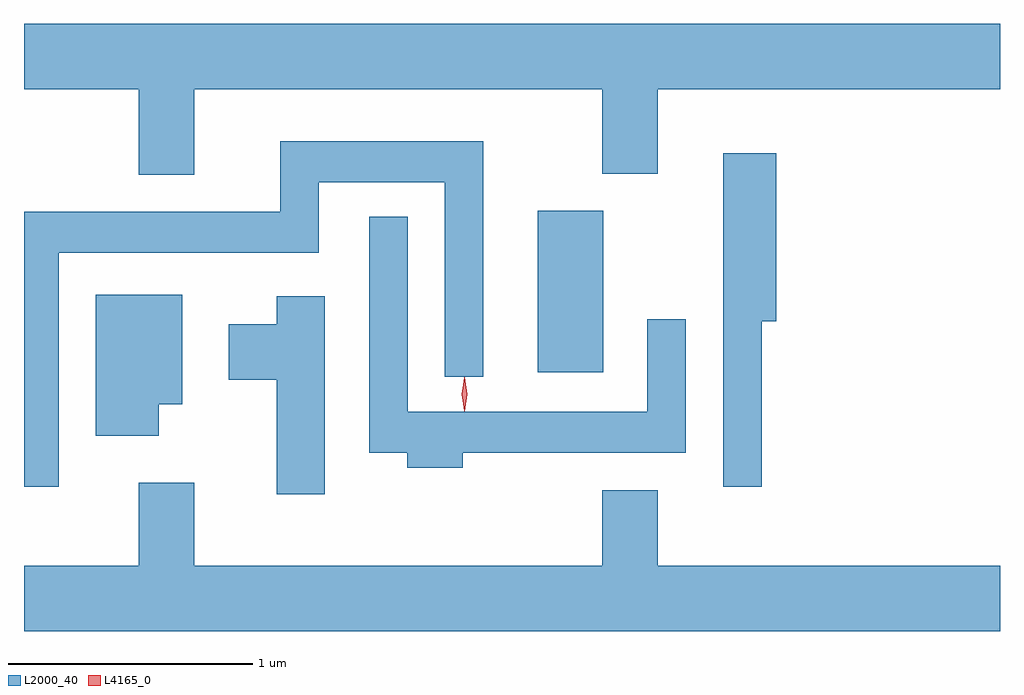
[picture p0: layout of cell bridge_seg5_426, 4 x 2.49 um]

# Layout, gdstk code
import gdstk
lib = gdstk.Library(unit=1e-6, precision=1e-09)
def R(c, l, rs):  # rectangles x0, y0, x1, y1
    for r in rs: c.add(gdstk.rectangle(r[:2], r[2:], *l))
def P(c, l, *ps):  # polygons
    for p in ps: c.add(gdstk.Polygon(p, *l))
L2000_40 = (2000, 40)
L4165_0 = (4165, 0)

bridge_seg5_426 = lib.new_cell('bridge_seg5_426')
R(bridge_seg5_426, L2000_40, [(392.116,1491.156,392.384,1491.819)])
P(bridge_seg5_426, L2000_40, [(390.709,1492.316),(392.381,1492.316),(392.381,1491.971),(392.609,1491.971),(392.609,1492.316),(394.011,1492.316),(394.011,1492.584),(390.011,1492.584),(390.011,1492.316),(390.481,1492.316),(390.481,1491.966),(390.709,1491.966)],
  [(390.154,1491.646),(391.219,1491.646),(391.219,1491.936),(391.736,1491.936),(391.736,1491.138),(391.894,1491.138),(391.894,1492.104),(391.061,1492.104),(391.061,1491.814),(390.011,1491.814),(390.011,1490.688),(390.154,1490.688)],
  [(393.034,1491.366),(393.094,1491.366),(393.094,1492.054),(392.876,1492.054),(392.876,1490.688),(393.034,1490.688)],
  [(391.809,1490.826),(392.724,1490.826),(392.724,1491.373),(392.566,1491.373),(392.566,1490.994),(391.584,1490.994),(391.584,1491.793),(391.426,1491.793),(391.426,1490.826),(391.581,1490.826),(391.581,1490.766),(391.809,1490.766)],
  [(390.564,1491.026),(390.659,1491.026),(390.659,1491.474),(390.306,1491.474),(390.306,1490.896),(390.564,1490.896)],
  [(391.244,1491.469),(391.046,1491.469),(391.046,1491.354),(390.851,1491.354),(390.851,1491.126),(391.046,1491.126),(391.046,1490.656),(391.244,1490.656)],
  [(394.011,1490.364),(392.609,1490.364),(392.609,1490.674),(392.381,1490.674),(392.381,1490.364),(390.709,1490.364),(390.709,1490.704),(390.481,1490.704),(390.481,1490.364),(390.011,1490.364),(390.011,1490.096),(394.011,1490.096)])
P(bridge_seg5_426, L4165_0, [(391.816,1490.997),(391.807,1491.067),(391.816,1491.136),(391.817,1491.136),(391.817,1491.136),(391.827,1491.067),(391.817,1490.997),(391.817,1490.997)],
  [(391.816,1490.999),(391.816,1491),(391.806,1491.066),(391.816,1491.132),(391.816,1491.133),(391.817,1491.132),(391.826,1491.066),(391.817,1491)])

lib.write_gds('bridge_seg5_426.gds')
